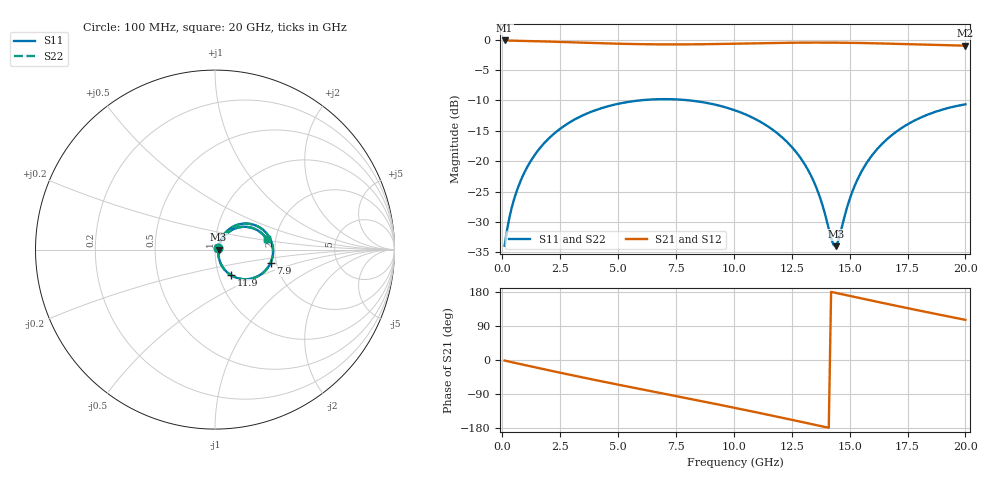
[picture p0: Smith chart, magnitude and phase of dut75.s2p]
! Touchstone file exported from HFSS 2026.1.0
!  File:  C:/ffzhzh/LocalFiles/Ansys_Project_Files/temp_train_TSV_RDL_75_1782970405_6388.aedt
!  Generated:  01:47:07 PM Jul  2, 2026
!  Design:  TSV_RDL
!  Project:  temp_train_TSV_RDL_75_1782970405_6388
! Variables:
!  h_bsmrdl = 4.17um
!  h_ox = 20um
!  h_rdl = 5um
!  h_sub = 80.96um
!  h_tmrdl = 3.25um
!  h_tsv = 80.96um
!  h_via = 3um
!  l_bsmrdl = 493.97um
!  l_sub = 4272.41um
!  l_tmrdl = 561.73um
!  m_sub = 200um
!  pitch = 36.94um
!  r_tsv = 6.72um
!  s_tmrdl = 10um
!  w_bsmrdl = 20.9um
!  w_sub = 500um
!  w_tmrdl = 26.96um
!  x_tsv_center1 = 575.21um
!  x_tsv_center2 = 1090.08um
!  x_tsv_center3 = 1678.77um
!  x_tsv_center4 = 2193.64um
!  x_tsv_center5 = 2782.33um
!  x_tsv_center6 = 3297.2um
# GHz S MA R 50.000000
! Terminal data exported
! Port[1] = TM_RDL1_1_T1
! Port[2] = TM_RDL5_1_T1
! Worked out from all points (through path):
!   200 points, 100 MHz to 20 GHz, reference 50 ohm
!   highest |S21| = -0.15 dB at 100 MHz (marker M1); lowest = -1.0 dB at 20 GHz (marker M2)
!   group delay of S21, straight-line fit = 35.1 ps
!   lowest |S11| = -34.0 dB at 14.4 GHz (marker M3), VSWR 1.04, Z = 52 - j0.0265 ohm
!   |S11| at or under -10 dB: start of sweep to 5.965 GHz; 8.051 GHz to end of sweep
!   |S22| runs from -34.1 to -9.8 dB; largest |S21 - S12| = 1.7e-14
!   S11 on the Smith chart (normalised r, x): 100 MHz: 1.04, +0.02; 7.9 GHz: 1.86, -0.30; 11.9 GHz: 1.14, -0.34; 20 GHz: 1.79, +0.23
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0.1  0.0202 27.9  0.9824 -1.5  0.9824 -1.5  0.0202 27.9
! Gamma 0 0 0 0
! Port Impedance 50 0 50 0
0.3  0.03384 49.3  0.9795 -4.3  0.9795 -4.3  0.03384 49.3
0.5  0.04801 56.0  0.9773 -7.0  0.9773 -7.0  0.04801 56.0
1.2  0.09825 59.2  0.9709 -16.4  0.9709 -16.4  0.09825 59.2
2.2  0.1661 51.2  0.9595 -29.6  0.9595 -29.6  0.1661 51.2
3.5  0.2391 37.0  0.9418 -46.4  0.9418 -46.4  0.2391 37.0
5.1  0.2987 18.6  0.9226 -66.3  0.9226 -66.3  0.2987 18.6
6.8  0.3234 -0.8  0.912 -86.8  0.912 -86.8  0.3234 -0.9
7.9  0.3182 -13.3  0.9119 -100.1  0.9119 -100.1  0.3182 -13.4
10.1  0.2597 -38.3  0.924 -127.0  0.924 -127.0  0.2597 -38.4
11.9  0.1682 -58.0  0.9378 -150.0  0.9378 -150.0  0.1682 -58.1
12.7  0.118 -65.1  0.942 -160.4  0.942 -160.4  0.118 -65.3
13.4  0.07149 -67.6  0.9437 -169.7  0.9437 -169.7  0.07143 -67.8
13.8  0.0452 -62.7  0.9438 -174.9  0.9438 -174.9  0.04509 -63.0
14.3  0.02055 -19.6  0.9429 178.4  0.9429 178.4  0.02029 -19.8
14.4  0.02 -0.7  0.9426 177.1  0.9426 177.1  0.01974 -0.7
15  0.04857 51.7  0.9397 169.2  0.9397 169.2  0.04846 52.0
15.4  0.07463 55.4  0.937 163.9  0.937 163.9  0.07455 55.6
16  0.1136 53.3  0.9318 156.1  0.9318 156.1  0.1136 53.4
16.7  0.1566 47.4  0.9246 147.0  0.9246 147.0  0.1566 47.4
18.4  0.2424 29.5  0.905 125.6  0.905 125.6  0.2424 29.5
20  0.2933 11.8  0.8899 106.0  0.8899 106.0  0.2933 11.8
